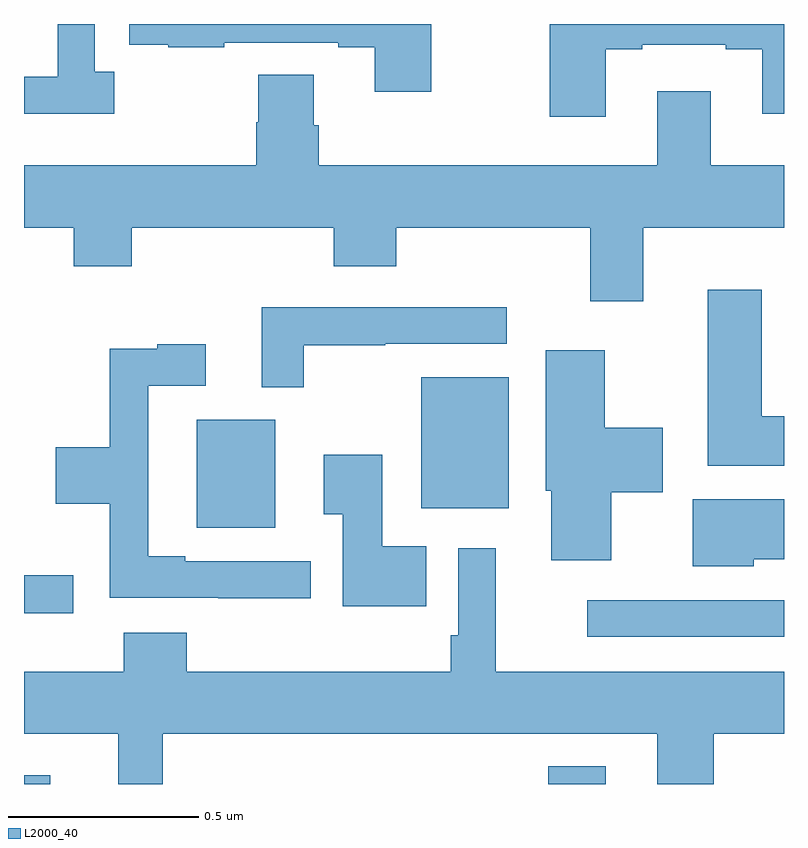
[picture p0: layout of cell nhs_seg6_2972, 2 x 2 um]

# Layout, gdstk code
import gdstk
lib = gdstk.Library(unit=1e-6, precision=1e-09)
def R(c, l, rs):  # rectangles x0, y0, x1, y1
    for r in rs: c.add(gdstk.rectangle(r[:2], r[2:], *l))
def P(c, l, *ps):  # polygons
    for p in ps: c.add(gdstk.Polygon(p, *l))
L2000_40 = (2000, 40)

nhs_seg6_2972 = lib.new_cell('nhs_seg6_2972')
R(nhs_seg6_2972, L2000_40, [(150,984.5,150.069,984.523), (151.379,984.5,151.531,984.547), (151.482,984.888,152,984.984), (150,984.95,150.13,985.049), (150.455,985.175,150.661,985.459), (151.046,985.226,151.276,985.57)])
P(nhs_seg6_2972, L2000_40, [(151.531,986.433),(151.627,986.433),(151.627,986.445),(151.847,986.445),(151.847,986.433),(151.943,986.433),(151.943,986.264),(152,986.264),(152,986.5),(151.384,986.5),(151.384,986.256),(151.531,986.256)],
  [(150.238,986.374),(150.186,986.374),(150.186,986.5),(150.089,986.5),(150.089,986.361),(150,986.361),(150,986.264),(150.238,986.264)],
  [(151.072,986.5),(150.277,986.5),(150.277,986.445),(150.379,986.445),(150.379,986.439),(150.527,986.439),(150.527,986.451),(150.827,986.451),(150.827,986.439),(150.923,986.439),(150.923,986.322),(151.072,986.322)],
  [(151.63,985.964),(152,985.964),(152,986.128),(151.807,986.128),(151.807,986.323),(151.667,986.323),(151.667,986.128),(150.776,986.128),(150.776,986.234),(150.763,986.234),(150.763,986.366),(150.616,986.366),(150.616,986.241),(150.611,986.241),(150.611,986.128),(150,986.128),(150,985.964),(150.131,985.964),(150.131,985.862),(150.284,985.862),(150.284,985.964),(150.815,985.964),(150.815,985.862),(150.98,985.862),(150.98,985.964),(151.49,985.964),(151.49,985.77),(151.63,985.77)],
  [(152,985.468),(151.942,985.468),(151.942,985.801),(151.799,985.801),(151.799,985.337),(152,985.337)],
  [(150.736,985.654),(150.95,985.654),(150.95,985.659),(151.27,985.659),(151.27,985.755),(150.626,985.755),(150.626,985.544),(150.736,985.544)],
  [(150.754,985.086),(150.424,985.086),(150.424,985.099),(150.327,985.099),(150.327,985.548),(150.478,985.548),(150.478,985.657),(150.35,985.657),(150.35,985.646),(150.226,985.646),(150.226,985.386),(150.084,985.386),(150.084,985.238),(150.226,985.238),(150.226,984.99),(150.511,984.99),(150.511,984.989),(150.754,984.989)],
  [(151.546,985.268),(151.681,985.268),(151.681,985.437),(151.528,985.437),(151.528,985.642),(151.373,985.642),(151.373,985.272),(151.388,985.272),(151.388,985.089),(151.546,985.089)],
  [(151.058,985.126),(150.943,985.126),(150.943,985.366),(150.789,985.366),(150.789,985.21),(150.839,985.21),(150.839,984.968),(151.058,984.968)],
  [(151.92,985.091),(152,985.091),(152,985.249),(151.76,985.249),(151.76,985.073),(151.92,985.073)],
  [(150.365,984.632),(151.667,984.632),(151.667,984.5),(151.815,984.5),(151.815,984.632),(152,984.632),(152,984.796),(151.242,984.796),(151.242,985.12),(151.143,985.12),(151.143,984.892),(151.123,984.892),(151.123,984.796),(150.428,984.796),(150.428,984.898),(150.263,984.898),(150.263,984.796),(150,984.796),(150,984.632),(150.248,984.632),(150.248,984.5),(150.365,984.5)])

lib.write_gds('nhs_seg6_2972.gds')
